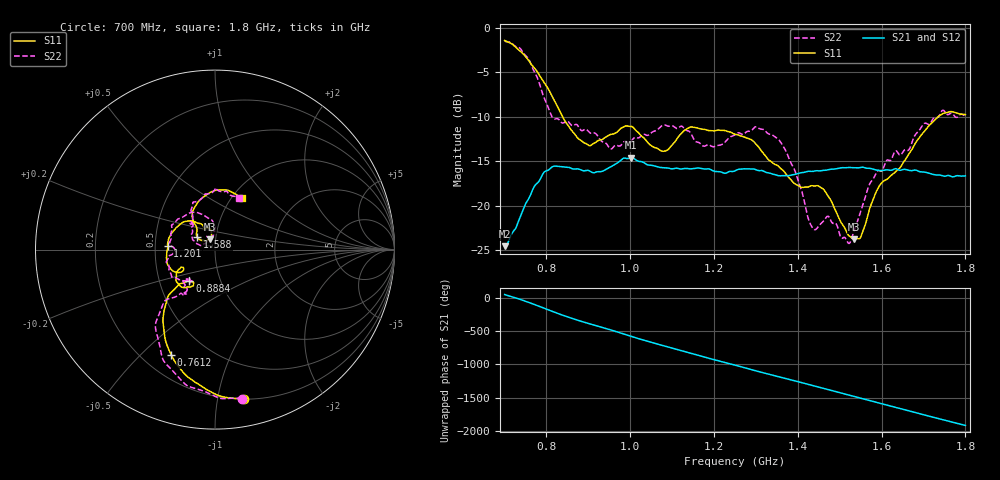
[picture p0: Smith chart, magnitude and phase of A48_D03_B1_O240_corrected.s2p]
! Created with skrf 1.9.0 (http://scikit-rf.org).
# Hz S RI R 50.0
!freq ReS11 ImS11 ReS21 ImS21 ReS12 ImS12 ReS22 ImS22
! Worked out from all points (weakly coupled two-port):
!   1601 points, 700 MHz to 1.8 GHz, reference 50 ohm
!   highest |S21| = -14.58 dB at 1.002 GHz (marker M1); lowest = -24.5 dB at 701.4 MHz (marker M2)
!   lowest |S11| = -23.8 dB at 1.534 GHz (marker M3), VSWR 1.14, Z = 46.9 + j5.5 ohm
!   |S11| at or under -10 dB: 838.7 MHz to 1.735 GHz (896.2 MHz wide, 69.6 % of centre)
!   |S22| runs from -24.2 to -1.5 dB; largest |S21 - S12| = 0.0035
!   S11 on the Smith chart (normalised r, x): 700 MHz: 0.20, -1.19; 761.2 MHz: 0.32, -0.62; 888.4 MHz: 0.71, -0.26; 1.201 GHz: 0.58, +0.02; 1.588 GHz: 0.81, +0.11; 1.8 GHz: 1.12, +0.72
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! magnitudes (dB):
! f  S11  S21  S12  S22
! 700 MHz  -1.4  -24.5  -24.3  -1.5
! 701.4 MHz  -1.5  -24.5  -24.2  -1.5
! 761.2 MHz  -3.9  -18.9  -18.8  -3.9
! 814.8 MHz  -7.8  -15.6  -15.7  -10.1
! 883.6 MHz  -12.7  -16.0  -15.9  -11.6
! 888.4 MHz  -12.9  -16.1  -16.0  -11.5
! 953 MHz  -12.0  -15.6  -15.6  -13.6
! 1.002 GHz  -11.1  -14.6  -14.7  -12.7
! 1.067 GHz  -13.6  -15.7  -15.6  -11.4
! 1.142 GHz  -11.2  -15.9  -15.8  -11.7
! 1.201 GHz  -11.6  -16.1  -16.1  -13.3
! 1.25 GHz  -12.0  -16.1  -16.0  -12.0
! 1.356 GHz  -15.7  -16.6  -16.6  -12.7
! 1.434 GHz  -17.7  -16.1  -16.1  -22.4
! 1.471 GHz  -18.9  -16.0  -16.0  -21.2
! 1.52 GHz  -23.3  -15.7  -15.7  -24.2
! 1.534 GHz  -23.8  -15.7  -15.7  -22.9
! 1.552 GHz  -23.3  -15.7  -15.7  -20.4
! 1.588 GHz  -18.4  -16.0  -16.0  -16.3
! 1.617 GHz  -16.8  -16.0  -16.0  -14.9
! 1.737 GHz  -9.9  -16.5  -16.6  -9.9
! 1.8 GHz  -9.8  -16.6  -16.6  -9.9
